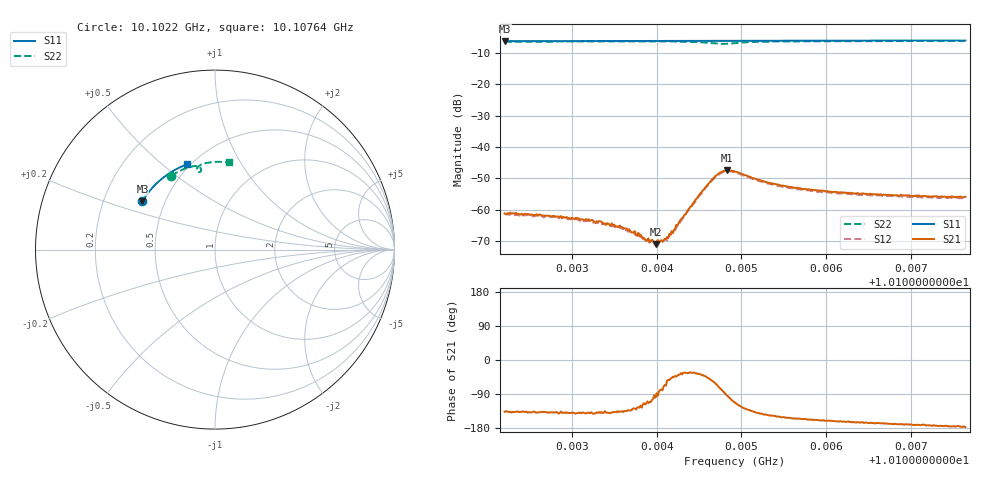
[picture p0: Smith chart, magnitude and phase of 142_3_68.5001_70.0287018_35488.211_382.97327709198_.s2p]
#  HZ  S  RI  R  50.00
! Rohde & Schwarz Vector Network Analyzer
! Rohde-Schwarz,ZNB20-2Port,1311601062101988,3.16
! Created: UTC 3/20/2024, 4:54:56 PM
! freq[Hz]  re:S11  im:S11  re:S21  im:S21  re:S12  im:S12  re:S22  im:S22
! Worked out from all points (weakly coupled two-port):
!   401 points, 10.1022 GHz to 10.10764 GHz, reference 50 ohm
!   highest |S21| = -47.48 dB at 10.10483 GHz (marker M1); lowest = -71.1 dB at 10.10398 GHz (marker M2)
!   lowest |S11| = -6.3 dB at 10.1022 GHz (marker M3), VSWR 2.89, Z = 18.7 + j13.2 ohm
!   |S11| at or under -10 dB: nowhere
!   |S22| runs from -7.1 to -6.2 dB; largest |S21 - S12| = 0.00042
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1.0102203e10  -0.4045 0.269  -0.000632 -0.000597  -0.000564 -0.000658  -0.2438 0.4116
1.0102598e10  -0.3916 0.2895  -0.000598 -0.000534  -0.000545 -0.000557  -0.2216 0.4251
1.0102883e10  -0.3818 0.3037  -0.000558 -0.000478  -0.000506 -0.000526  -0.2051 0.4342
1.0103115e10  -0.3733 0.3151  -0.00054 -0.000445  -0.000486 -0.000471  -0.1913 0.441
1.0103319e10  -0.3656 0.3248  -0.000485 -0.000447  -0.000391 -0.000423  -0.1787 0.4468
1.010355e10  -0.3567 0.3357  -0.000389 -0.000359  -0.000338 -0.000403  -0.1639 0.4527
1.0103591e10  -0.3551 0.3375  -0.000373 -0.000366  -0.000316 -0.000382  -0.1612 0.4537
1.0103795e10  -0.347 0.3468  -0.000218 -0.000307  -0.000225 -0.000346  -0.1474 0.4585
1.0103863e10  -0.344 0.3498  -0.000153 -0.000295  -0.000129 -0.000298  -0.1425 0.4599
1.0103985e10  -0.3391 0.3552  -4.6e-05 -0.000276  -1.92e-05 -0.000302  -0.1337 0.4622
1.0104026e10  -0.3373 0.3571  3.57e-05 -0.000297  4.72e-05 -0.00029  -0.1305 0.4631
1.0104107e10  -0.3339 0.3606  0.000128 -0.000314  0.000167 -0.000293  -0.1243 0.4642
1.0104189e10  -0.3304 0.3642  0.000303 -0.000295  0.000334 -0.000287  -0.1174 0.4651
1.0104488e10  -0.3172 0.3765  0.0013 -0.000971  0.00132 -0.000798  -0.0892 0.4613
1.0104651e10  -0.3097 0.3832  0.00174 -0.00247  0.0019 -0.0022  -0.0772 0.4457
1.0104746e10  -0.3053 0.3868  0.00104 -0.00376  0.00134 -0.00349  -0.0821 0.4342
1.0104828e10  -0.3017 0.39  -0.000256 -0.00422  0.000117 -0.00405  -0.0928 0.4326
1.0104923e10  -0.2975 0.3936  -0.00157 -0.00372  -0.00118 -0.00371  -0.1006 0.4419
1.0105318e10  -0.2787 0.4086  -0.00222 -0.00153  -0.00201 -0.00163  -0.0787 0.4726
1.0105834e10  -0.253 0.4266  -0.0019 -0.000807  -0.00176 -0.000923  -0.0407 0.4839
1.0106746e10  -0.2052 0.4538  -0.00167 -0.000354  -0.00158 -0.000492  0.0207 0.489
1.0107643e10  -0.1551 0.475  -0.00161 -8.2e-05  -0.00151 -0.000251  0.0789 0.4854
